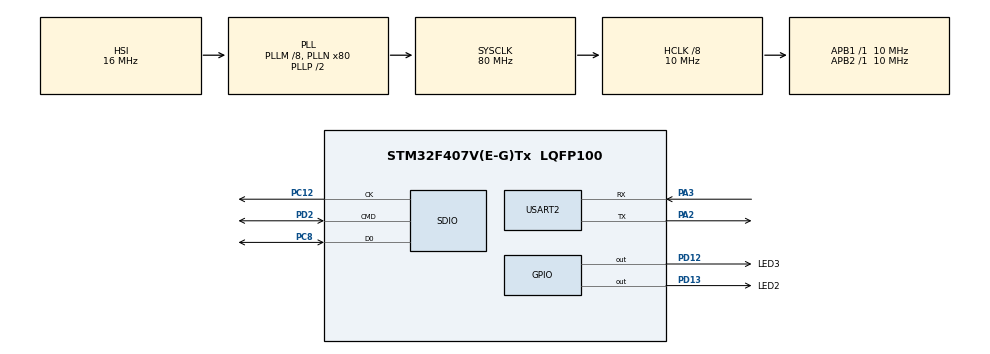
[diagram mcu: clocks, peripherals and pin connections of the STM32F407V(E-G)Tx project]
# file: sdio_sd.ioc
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Mcu.Family=STM32F4
Mcu.Name=STM32F407V(E-G)Tx
Mcu.Package=LQFP100
NVIC.PriorityGroup=NVIC_PRIORITYGROUP_4
PA2.Mode=Asynchronous
PA2.Signal=USART2_TX
PA3.Mode=Asynchronous
PA3.Signal=USART2_RX
PC12.Mode=SD_1_bit
PC12.Signal=SDIO_CK
PC8.Mode=SD_1_bit
PC8.Signal=SDIO_D0
PD12.GPIO_Label=LED3
PD12.Signal=GPIO_Output
PD13.GPIO_Label=LED2
PD13.Signal=GPIO_Output
PD2.Mode=SD_1_bit
PD2.Signal=SDIO_CMD
ProjectManager.HeapSize=0x200
ProjectManager.StackSize=0x400
ProjectManager.TargetToolchain=Makefile
RCC.48MHZClocksFreq_Value=40000000
RCC.AHBCLKDivider=RCC_SYSCLK_DIV8
RCC.AHBFreq_Value=10000000
RCC.APB1Freq_Value=10000000
RCC.APB1TimFreq_Value=10000000
RCC.APB2Freq_Value=10000000
RCC.APB2TimFreq_Value=10000000
RCC.CortexFreq_Value=10000000
RCC.HCLKFreq_Value=10000000
RCC.HSE_VALUE=25000000
RCC.HSI_VALUE=16000000
RCC.LSE_VALUE=32768
RCC.PLLM=8
RCC.PLLN=80
RCC.SYSCLKFreq_VALUE=80000000
RCC.SYSCLKSource=RCC_SYSCLKSOURCE_PLLCLK
RCC.VCOOutputFreq_Value=160000000
USART2.VirtualMode=VM_ASYNC
VP_FATFS_VS_SDIO.Mode=SDIO
board=custom

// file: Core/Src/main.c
/* USER CODE BEGIN Header */
/**
  ******************************************************************************
  * @file           : main.c
  * @brief          : Main program body
  ******************************************************************************
  * @attention
  *
  * Copyright (c) 2022 STMicroelectronics.
  * All rights reserved.
  *
  * This software is licensed under terms that can be found in the LICENSE file
  * in the root directory of this software component.
  * If no LICENSE file comes with this software, it is provided AS-IS.
  *
  ******************************************************************************
  */
/* USER CODE END Header */
#include "main.h"
#include "fatfs.h"

/* USER CODE BEGIN Includes */
#include <stdio.h>
#include <string.h>
#include <stdarg.h> //for va_list var arg functions
/* Private includes ----------------------------------------------------------*/
/* USER CODE BEGIN Includes */

/* USER CODE END Includes */

/* USER CODE BEGIN PD */
char buffer[100];
/* USER CODE END PD */

SD_HandleTypeDef hsd;

UART_HandleTypeDef huart2;

void SystemClock_Config(void);
static void MX_GPIO_Init(void);
static void MX_SDIO_SD_Init(void);
static void MX_USART2_UART_Init(void);
/* USER CODE BEGIN PFP */
void myprintf(const char *fmt, ...);
/* USER CODE END PFP */

int main(void)
{
  /* USER CODE BEGIN 1 */

   //Fatfs object
  FATFS FatFs;
  //File object
  FIL fil;

  /* USER CODE END 1 */

  /* MCU Configuration--------------------------------------------------------*/

  /* Reset of all peripherals, Initializes the Flash interface and the Systick. */
  HAL_Init();

  /* USER CODE BEGIN Init */

  myprintf("\r\n\r\n(Powering up)\r\nMary had a little lamb --\r\nI ate it with mint sauce.\r\n\r\n");
  HAL_Delay(1000);
  FRESULT fres;

  /* USER CODE END Init */

  /* Configure the system clock */
  SystemClock_Config();

  /* Initialize all configured peripherals */
  MX_GPIO_Init();
  MX_SDIO_SD_Init();
  MX_USART2_UART_Init();
  MX_FATFS_Init();
  /* USER CODE BEGIN 2 */

//Mount drive
    fres = f_mount(&FatFs, "", 1); //1=mount now
    if (fres != FR_OK) {
      myprintf("f_mount error (%i)\r\n", fres);
      while(1);
    }

    DWORD free_clusters, free_sectors, total_sectors;

    FATFS* getFreeFs;

    fres = f_getfree("", &free_clusters, &getFreeFs);
    if (fres != FR_OK) {
      myprintf("f_getfree error (%i)\r\n", fres);
      while(1);
    }

    total_sectors = (getFreeFs->n_fatent - 2) * getFreeFs->csize;
    free_sectors = free_clusters * getFreeFs->csize;

    myprintf("SD card stats:\r\n%10lu KiB total drive space.\r\n%10lu KiB available.\r\n", total_sectors / 2, free_sectors / 2);

    #define BUFFER_SIZE     100
    #define MSG     "SD test with SDIO Interface"

    BYTE readBuf[BUFFER_SIZE];

    fres = f_open(&fil, "write.txt", FA_WRITE | FA_OPEN_ALWAYS | FA_CREATE_ALWAYS);
    if(fres == FR_OK) {
      myprintf("I was able to open 'write.txt' for writing\r\n");
    } else {
      myprintf("f_open error (%i)\r\n", fres);
    }

    strncpy((char*)readBuf, MSG, strlen(MSG));
    UINT bytesWrote;
    fres = f_write(&fil, readBuf, strlen(readBuf), &bytesWrote);
    if(fres == FR_OK) {
      myprintf("Wrote %i bytes to 'write.txt'!\r\n", bytesWrote);
    } else {
      myprintf("f_write error (%i)\r\n");
    }

    //Close file, don't forget this!
    f_close(&fil);

    //De-mount drive
    f_mount(NULL, "", 0);

  /* USER CODE END 2 */

  /* Infinite loop */
  /* USER CODE BEGIN WHILE */
  while (1)
  {
    HAL_GPIO_TogglePin(GPIOD,GPIO_PIN_12);
    HAL_Delay(500);
    /* USER CODE END WHILE */

  }
}

void SystemClock_Config(void)
{
  RCC_OscInitTypeDef RCC_OscInitStruct = {0};
  RCC_ClkInitTypeDef RCC_ClkInitStruct = {0};

  /** Configure the main internal regulator output voltage
  */
  __HAL_RCC_PWR_CLK_ENABLE();
  __HAL_PWR_VOLTAGESCALING_CONFIG(PWR_REGULATOR_VOLTAGE_SCALE1);

  /** Initializes the RCC Oscillators according to the specified parameters
  * in the RCC_OscInitTypeDef structure.
  */
  RCC_OscInitStruct.OscillatorType = RCC_OSCILLATORTYPE_HSI;
  RCC_OscInitStruct.HSIState = RCC_HSI_ON;
  RCC_OscInitStruct.HSICalibrationValue = RCC_HSICALIBRATION_DEFAULT;
  RCC_OscInitStruct.PLL.PLLState = RCC_PLL_ON;
  RCC_OscInitStruct.PLL.PLLSource = RCC_PLLSOURCE_HSI;
  RCC_OscInitStruct.PLL.PLLM = 8;
  RCC_OscInitStruct.PLL.PLLN = 80;
  RCC_OscInitStruct.PLL.PLLP = RCC_PLLP_DIV2;
  RCC_OscInitStruct.PLL.PLLQ = 4;
  if (HAL_RCC_OscConfig(&RCC_OscInitStruct) != HAL_OK)
  {
    Error_Handler();
  }

  /** Initializes the CPU, AHB and APB buses clocks
  */
  RCC_ClkInitStruct.ClockType = RCC_CLOCKTYPE_HCLK|RCC_CLOCKTYPE_SYSCLK
                              |RCC_CLOCKTYPE_PCLK1|RCC_CLOCKTYPE_PCLK2;
  RCC_ClkInitStruct.SYSCLKSource = RCC_SYSCLKSOURCE_PLLCLK;
  RCC_ClkInitStruct.AHBCLKDivider = RCC_SYSCLK_DIV8;
  RCC_ClkInitStruct.APB1CLKDivider = RCC_HCLK_DIV1;
  RCC_ClkInitStruct.APB2CLKDivider = RCC_HCLK_DIV1;

  if (HAL_RCC_ClockConfig(&RCC_ClkInitStruct, FLASH_LATENCY_0) != HAL_OK)
  {
    Error_Handler();
  }
}

static void MX_SDIO_SD_Init(void)
{

  hsd.Instance = SDIO;
  hsd.Init.ClockEdge = SDIO_CLOCK_EDGE_RISING;
  hsd.Init.ClockBypass = SDIO_CLOCK_BYPASS_DISABLE;
  hsd.Init.ClockPowerSave = SDIO_CLOCK_POWER_SAVE_DISABLE;
  hsd.Init.BusWide = SDIO_BUS_WIDE_1B;
  hsd.Init.HardwareFlowControl = SDIO_HARDWARE_FLOW_CONTROL_DISABLE;
  hsd.Init.ClockDiv = 4;

}

static void MX_USART2_UART_Init(void)
{

  huart2.Instance = USART2;
  huart2.Init.BaudRate = 115200;
  huart2.Init.WordLength = UART_WORDLENGTH_8B;
  huart2.Init.StopBits = UART_STOPBITS_1;
  huart2.Init.Parity = UART_PARITY_NONE;
  huart2.Init.Mode = UART_MODE_TX_RX;
  huart2.Init.HwFlowCtl = UART_HWCONTROL_NONE;
  huart2.Init.OverSampling = UART_OVERSAMPLING_16;
  if (HAL_UART_Init(&huart2) != HAL_OK)
  {
    Error_Handler();
  }

}

static void MX_GPIO_Init(void)
{
  GPIO_InitTypeDef GPIO_InitStruct = {0};

  /* GPIO Ports Clock Enable */
  __HAL_RCC_GPIOA_CLK_ENABLE();
  __HAL_RCC_GPIOD_CLK_ENABLE();
  __HAL_RCC_GPIOC_CLK_ENABLE();

  /*Configure GPIO pin Output Level */
  HAL_GPIO_WritePin(GPIOD, GPIO_PIN_12|GPIO_PIN_13, GPIO_PIN_RESET);

  /*Configure GPIO pins : PD12 PD13 */
  GPIO_InitStruct.Pin = GPIO_PIN_12|GPIO_PIN_13;
  GPIO_InitStruct.Mode = GPIO_MODE_OUTPUT_PP;
  GPIO_InitStruct.Pull = GPIO_NOPULL;
  GPIO_InitStruct.Speed = GPIO_SPEED_FREQ_LOW;
  HAL_GPIO_Init(GPIOD, &GPIO_InitStruct);

}

/* USER CODE BEGIN 4 */

void myprintf(const char *fmt, ...) {
  va_list args;
  va_start(args, fmt);
  vsnprintf(buffer, sizeof(buffer), fmt, args);
  va_end(args);

  int len = strlen(buffer);
  HAL_UART_Transmit(&huart2, (uint8_t*)buffer, len, 1000);

}

/* USER CODE END 4 */

void Error_Handler(void)
{
  __disable_irq();
  while (1)
  {
  }
}
